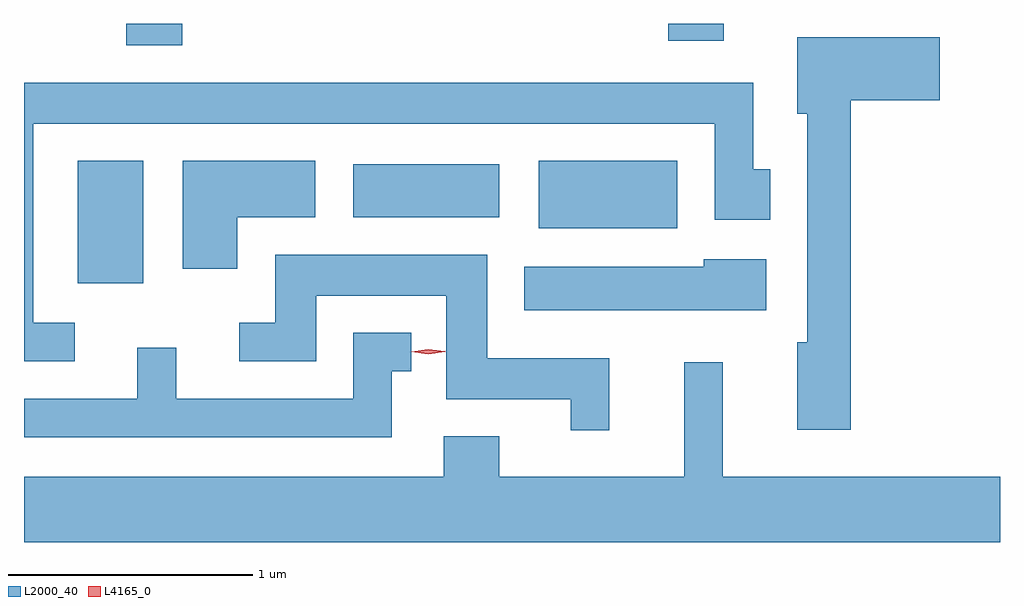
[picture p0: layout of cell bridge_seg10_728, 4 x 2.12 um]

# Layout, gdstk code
import gdstk
lib = gdstk.Library(unit=1e-6, precision=1e-09)
def R(c, l, rs):  # rectangles x0, y0, x1, y1
    for r in rs: c.add(gdstk.rectangle(r[:2], r[2:], *l))
def P(c, l, *ps):  # polygons
    for p in ps: c.add(gdstk.Polygon(p, *l))
L2000_40 = (2000, 40)
L4165_0 = (4165, 0)

bridge_seg10_728 = lib.new_cell('bridge_seg10_728')
R(bridge_seg10_728, L2000_40, [(587.141,2177.136,587.409,2177.639), (589.031,2177.361,589.599,2177.639), (588.271,2177.406,588.869,2177.624), (587.341,2178.111,587.569,2178.199), (589.561,2178.131,589.789,2178.199)])
P(bridge_seg10_728, L2000_40, [(590.309,2177.886),(590.674,2177.886),(590.674,2178.144),(590.091,2178.144),(590.091,2177.831),(590.131,2177.831),(590.131,2176.894),(590.091,2176.894),(590.091,2176.536),(590.309,2176.536)],
  [(587.128,2176.974),(586.959,2176.974),(586.959,2177.791),(589.751,2177.791),(589.751,2177.396),(589.979,2177.396),(589.979,2177.604),(589.909,2177.604),(589.909,2177.959),(586.921,2177.959),(586.921,2176.816),(587.128,2176.816)],
  [(587.794,2177.406),(588.114,2177.406),(588.114,2177.639),(587.571,2177.639),(587.571,2177.196),(587.794,2177.196)],
  [(589.319,2176.829),(588.819,2176.829),(588.819,2177.254),(587.951,2177.254),(587.951,2176.974),(587.803,2176.974),(587.803,2176.816),(588.119,2176.816),(588.119,2177.086),(588.651,2177.086),(588.651,2176.661),(589.161,2176.661),(589.161,2176.533),(589.319,2176.533)],
  [(589.964,2177.234),(589.706,2177.234),(589.706,2177.204),(588.971,2177.204),(588.971,2177.026),(589.964,2177.026)],
  [(588.429,2176.776),(588.508,2176.776),(588.508,2176.934),(588.271,2176.934),(588.271,2176.664),(587.544,2176.664),(587.544,2176.873),(587.386,2176.873),(587.386,2176.664),(586.921,2176.664),(586.921,2176.506),(588.429,2176.506)],
  [(590.921,2176.344),(589.784,2176.344),(589.784,2176.813),(589.626,2176.813),(589.626,2176.344),(588.869,2176.344),(588.869,2176.509),(588.641,2176.509),(588.641,2176.344),(586.921,2176.344),(586.921,2176.076),(590.921,2176.076)])
P(bridge_seg10_728, L4165_0, [(588.578,2176.846),(588.509,2176.856),(588.509,2176.856),(588.509,2176.856),(588.578,2176.866),(588.648,2176.857),(588.648,2176.857),(588.648,2176.856)])

lib.write_gds('bridge_seg10_728.gds')
